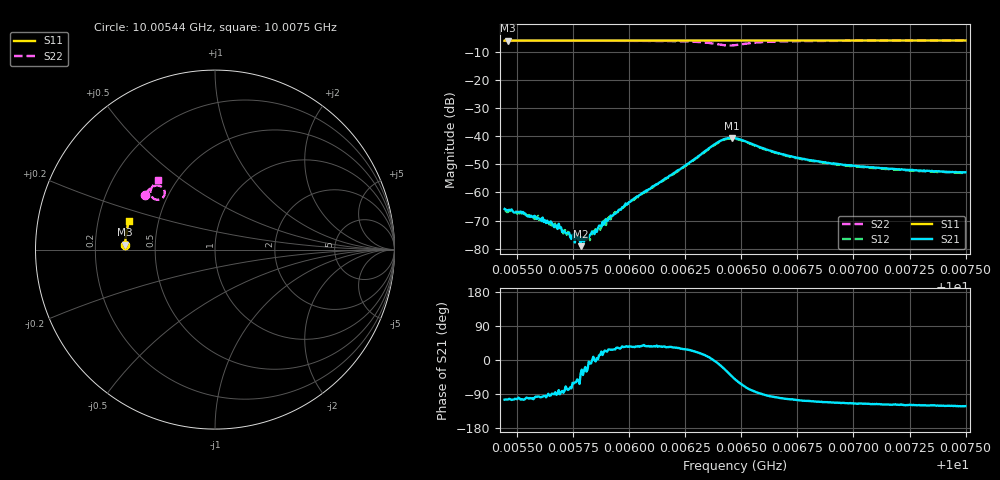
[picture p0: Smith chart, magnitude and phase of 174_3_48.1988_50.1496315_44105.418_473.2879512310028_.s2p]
#  HZ  S  RI  R  50.00
! Rohde & Schwarz Vector Network Analyzer
! Rohde-Schwarz,ZNB20-2Port,1311601062101988,3.16
! Created: UTC 3/20/2024, 11:43:51 AM
! freq[Hz]  re:S11  im:S11  re:S21  im:S21  re:S12  im:S12  re:S22  im:S22
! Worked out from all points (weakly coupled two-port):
!   401 points, 10.00544 GHz to 10.0075 GHz, reference 50 ohm
!   highest |S21| = -40.58 dB at 10.00646 GHz (marker M1); lowest = -79.1 dB at 10.00578 GHz (marker M2)
!   lowest |S11| = -6.0 dB at 10.00546 GHz (marker M3), VSWR 3.00, Z = 16.7 + j1.21 ohm
!   |S11| at or under -10 dB: nowhere
!   |S22| runs from -7.7 to -6.0 dB; largest |S21 - S12| = 0.00057
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1.0005444e10  -0.4999 0.0264  -0.00013 -0.000492  -0.000102 -0.000463  -0.3923 0.3042
1.0005459e10  -0.4997 0.0273  -0.000114 -0.000459  -0.000103 -0.000438  -0.3916 0.3051
1.0005521e10  -0.4997 0.0315  -9.87e-05 -0.000411  -6.98e-05 -0.000425  -0.3889 0.3087
1.0005603e10  -0.4994 0.0369  -4.89e-05 -0.000333  -3.26e-05 -0.00033  -0.3853 0.3136
1.0005685e10  -0.4991 0.0422  5.15e-05 -0.000272  -6.42e-06 -0.000239  -0.3813 0.3188
1.0005747e10  -0.499 0.0462  8.71e-05 -0.000152  6.23e-05 -0.00016  -0.3781 0.3227
1.0005757e10  -0.4989 0.047  6.64e-05 -0.00011  9.28e-05 -0.000103  -0.3775 0.3233
1.0005783e10  -0.4987 0.0485  8.9e-05 -6.6e-05  0.000134 -6.38e-05  -0.3762 0.3247
1.0005788e10  -0.4987 0.0489  0.000145 -6.92e-05  0.000119 -7e-05  -0.3759 0.3252
1.0005819e10  -0.4986 0.0508  0.000157 -1.2e-05  0.000153 -2.38e-05  -0.3741 0.327
1.000585e10  -0.4985 0.0528  0.000217 -1.39e-05  0.00022 3.01e-05  -0.3723 0.3292
1.0005875e10  -0.4983 0.0545  0.000228 9.34e-05  0.000232 7.76e-05  -0.371 0.3308
1.0005932e10  -0.498 0.0581  0.000364 0.000194  0.000356 0.00023  -0.3672 0.3345
1.0006024e10  -0.4974 0.0642  0.00066 0.000444  0.000598 0.000468  -0.3603 0.341
1.0006132e10  -0.4967 0.0712  0.0012 0.00087  0.00116 0.000888  -0.3495 0.3488
1.0006389e10  -0.4938 0.0875  0.00752 -0.000788  0.00736 -0.000426  -0.2827 0.3309
1.0006456e10  -0.4932 0.0914  0.00691 -0.0063  0.00707 -0.0058  -0.298 0.2836
1.0006471e10  -0.4931 0.0923  0.00582 -0.00715  0.00606 -0.00672  -0.3095 0.2785
1.0006646e10  -0.492 0.1033  -0.000684 -0.0052  -0.000453 -0.00515  -0.3596 0.3199
1.0006816e10  -0.49 0.1143  -0.00118 -0.00348  -0.00104 -0.00349  -0.3528 0.3451
1.000716e10  -0.4854 0.136  -0.00122 -0.00233  -0.00108 -0.00232  -0.3344 0.3712
1.0007499e10  -0.4795 0.1571  -0.0012 -0.00194  -0.00107 -0.00193  -0.3166 0.3894
